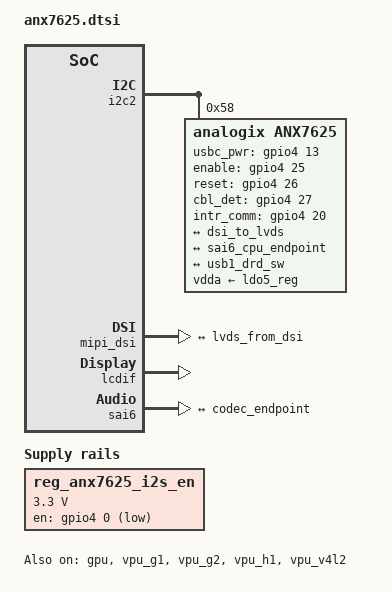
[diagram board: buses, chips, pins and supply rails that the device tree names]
/**
 */

&iomuxc {
	imx8mm {
		pinctrl_sai6: sai6grp {
			fsl,pins = <
				MX8MM_IOMUXC_SAI1_TXD6_SAI6_TX_SYNC			0xd6
				MX8MM_IOMUXC_SAI1_TXD4_SAI6_TX_BCLK			0xd6
				MX8MM_IOMUXC_SAI1_TXD5_SAI6_TX_DATA0		0xd6
			>;
		};

		pinctrl_anx7625: anx7625grp {
			fsl,pins = <
				MX8MM_IOMUXC_SAI2_TXC_GPIO4_IO25			0x19 /* POWER_EN */
				MX8MM_IOMUXC_SAI2_MCLK_GPIO4_IO27			0x51 /* CABLE_DET */
				MX8MM_IOMUXC_SAI1_MCLK_GPIO4_IO20			0x151 /* ALERT_N */
				MX8MM_IOMUXC_SAI2_TXD0_GPIO4_IO26			0x19 /* RESET_N */
				MX8MM_IOMUXC_SAI1_TXD1_GPIO4_IO13			0x19 /* VBUS_CTL */
				MX8MM_IOMUXC_SAI1_RXFS_GPIO4_IO0			0x19 /* EN_I2S */
			>;
		};
	};
};

&i2c2 {
	analogix: analogix_i2c@58 {
		pinctrl-names = "default";
		pinctrl-0 = <&pinctrl_anx7625>;
		compatible ="analogix,anx7625";
		status = "okay";
		reg = <0x58>;
		vdda-supply = <&ldo5_reg>;

		// 1: internal panel always connected
		// !=1: usbc dp port is modeled as a panel that can
		// be present or not depending on the actual usbc cable connection
		// status see driver
		//panel_flags = <1>;

		usbc_pwr-gpios = <&gpio4 13 0x0>;    // VBUS EN active low
		enable-gpios = <&gpio4 25 0x0>;     // VIDEO_EN active high
		reset-gpios = <&gpio4 26 0x0>;      // VIDEO_RSTN active low
		cbl_det-gpios = <&gpio4 27 0x0>;    // VIDEO_CABLE cable input active high
		intr_comm-gpios = <&gpio4 20 IRQ_TYPE_NONE>;  // VIDEO_ALT comm irq input active low
		#sound-dai-cells = <0>;

		ports {
			#address-cells = <1>;
			#size-cells = <0>;

			port@0 {
				reg = <0>;
				lvds_from_dsi: endpoint {
					remote-endpoint = <&dsi_to_lvds>;
				};
			};

			port@3 {
				reg = <3>;
				codec_endpoint: endpoint {
					remote-endpoint = <&sai6_cpu_endpoint>;
				};
			};
		};

		typec1_con: connector {
			compatible = "usb-c-connector";
			label = "USB-C";
			power-role = "dual";
			data-role = "dual";
			try-power-role = "sink";
			source-pdos = <PDO_FIXED(5000, 3000, PDO_FIXED_USB_COMM)>;
			sink-pdos = <PDO_FIXED(5000, 3000, PDO_FIXED_USB_COMM)
			             PDO_VAR(5000, 20000, 3000)>;
			op-sink-microwatt = <15000000>;
			self-powered;
			ports {
				#address-cells = <1>;
				#size-cells = <0>;
				port@1 {
					reg = <1>;
					typec1_dr_sw: endpoint {
						remote-endpoint = <&usb1_drd_sw>;
					};
				};
			};
		};
	};
};

/ {
	sound-anx7625 {
		compatible = "simple-audio-card";
		simple-audio-card,format = "i2s";
		simple-audio-card,name = "anx7625";
		simple-audio-card,mclk-fs = <512>;
		simple-audio-card,cpu {
			sound-dai = <&sai6>;
			dai-tdm-slot-num = <2>;
			dai-tdm-slot-width = <32>;
		};
		simple-audio-card,codec {
			sound-dai = <&analogix>;
		};
	};

	reg_anx7625_i2s_en: anx7625_regulator {
		compatible = "regulator-fixed";
		regulator-name = "anx7625-i2s-en";
		regulator-min-microvolt = <3300000>;
		regulator-max-microvolt = <3300000>;
		gpio = <&gpio4 0 GPIO_ACTIVE_HIGH>;
		off-on-delay-us = <20000>;
		startup-delay-us = <100>;
		enable-active-low;
		regulator-boot-on;
		regulator-always-on;
	};
};

&mipi_dsi {
	status = "okay";
	port@1 {
		dsi_to_lvds: endpoint {
			remote-endpoint = <&lvds_from_dsi>;
			attach-bridge;
		};
	};
};

&lcdif {
	status = "okay";
	display = <&display0>;

	display0: display {
		bits-per-pixel = <32>;
		bus-width = <24>;

		display-timings {
			native-mode = <&timing_1>;

			timing_wvga: 800x480 {
				clock-frequency = <33260000>;
				hactive = <800>;
				vactive = <480>;
				hback-porch = <88>;
				hfront-porch = <40>;
				vback-porch = <32>;
				vfront-porch = <13>;
				hsync-len = <48>;
				vsync-len = <3>;
				de-active = <1>;
				hsync-active = <0>;
				vsync-active = <0>;
				pixelclk-active = <0>;
			};

			timing_1: 1920x1080 {
				clock-frequency = <74000000>;
				hactive = <1920>;
				vactive = <1080>;
				hback-porch = <148>;
				hfront-porch = <88>;
				vback-porch = <36>;
				vfront-porch = <4>;
				hsync-len = <44>;
				vsync-len = <5>;
				de-active = <1>;
				hsync-active = <0>;
				vsync-active = <0>;
				pixelclk-active = <0>;
			};

			timing_2: 1024x600 {
				clock-frequency = <60000000>;
				hactive = <1024>;
				vactive = <600>;
				hback-porch = <60>;
				hfront-porch = <6>;
				vback-porch = <0>;
				vfront-porch = <0>;
				hsync-len = <0>;
				vsync-len = <0>;
				de-active = <0>;
				hsync-active = <0>;
				vsync-active = <0>;
				pixelclk-active = <0>;
			};
		};
	};
};

&sai6 {
	pinctrl-names = "default";
	pinctrl-0 = <&pinctrl_sai6>;
	assigned-clocks = <&clk IMX8MM_CLK_SAI6>;
	assigned-clock-parents = <&clk IMX8MM_AUDIO_PLL1_OUT>;
	assigned-clock-rates = <49152000>;
	clocks = <&clk IMX8MM_CLK_SAI6_IPG>, <&clk IMX8MM_CLK_DUMMY>,
		<&clk IMX8MM_CLK_SAI6_ROOT>, <&clk IMX8MM_CLK_DUMMY>,
		<&clk IMX8MM_CLK_DUMMY>, <&clk IMX8MM_AUDIO_PLL1_OUT>,
		<&clk IMX8MM_AUDIO_PLL2_OUT>;
	clock-names = "bus", "mclk0", "mclk1", "mclk2", "mclk3", "pll8k", "pll11k";
	fsl,sai-asynchronous;
	fsl,shared-interrupt;
	#sound-dai-cells = <0>;
	status = "okay";

	ports {
		sai6_port0: port@0 {
			sai6_cpu_endpoint: endpoint {
				remote-endpoint = <&codec_endpoint>;
				dai-format = "i2s";
			};
		};
	};
};

&gpu {
	status = "okay";
};

&vpu_g1 {
	status = "okay";
};

&vpu_g2 {
	status = "okay";
};

&vpu_h1 {
	status = "okay";
};

&vpu_v4l2 {
	status = "okay";
};
